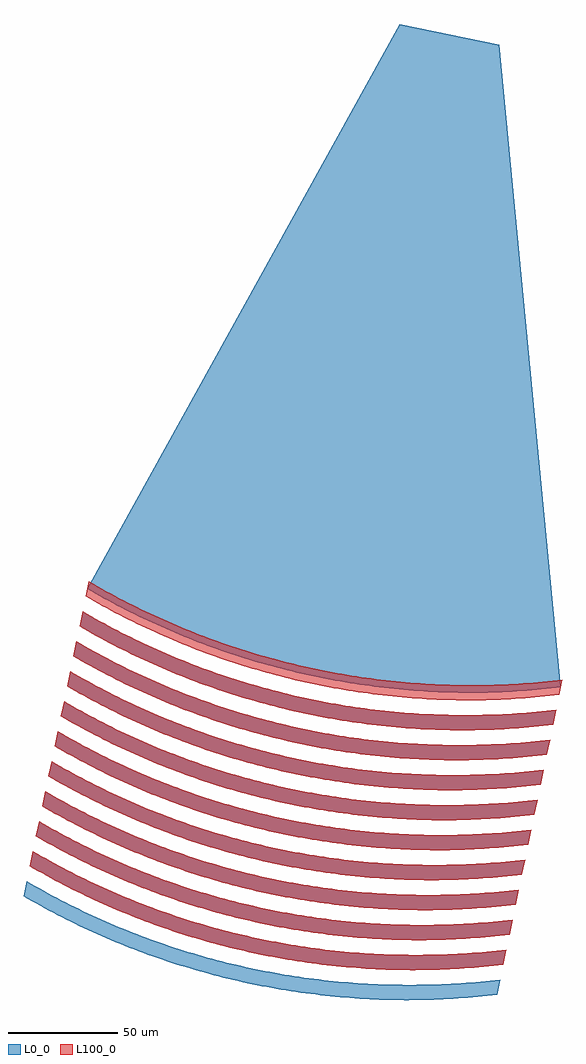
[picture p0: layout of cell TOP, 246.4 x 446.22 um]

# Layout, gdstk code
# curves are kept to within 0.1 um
import gdstk
lib = gdstk.Library(unit=1e-6, precision=1e-09)
def P(c, l, *ps):  # polygons
    for p in ps: c.add(gdstk.Polygon(p, *l))
L0_0 = (0, 0)
L100_0 = (100, 0)

top = lib.new_cell('TOP')
P(top, L0_0, [(7.037,-290.716),(-6.462,-290.491),(-19.956,-289.739),(-33.422,-288.46),(-46.835,-286.658),(-60.172,-284.334),(-71.211,-282.003),(-84.349,-278.735),(-97.345,-274.961),(-105.918,-272.166),(-114.412,-269.151),(-129.065,-263.352),(-137.305,-259.744),(-145.441,-255.925),(-153.467,-251.899),(-161.376,-247.669),(-169.161,-243.237),(-167.737,-236.383),(-156.012,-242.956),(-144.017,-249.072),(-131.773,-254.721),(-117.203,-260.708),(-104.494,-265.312),(-91.606,-269.421),(-76.372,-273.579),(-63.173,-276.591),(-47.639,-279.453),(-34.237,-281.343),(-20.779,-282.709),(-7.288,-283.549),(8.461,-283.862),(21.942,-283.559),(35.38,-282.728),(48.753,-281.371),(47.329,-288.224),(36.19,-289.392),(27.244,-290.063),(16.027,-290.572)],
  [(4.188,-304.423),(-9.31,-304.198),(-22.804,-303.446),(-36.27,-302.167),(-49.683,-300.365),(-63.02,-298.041),(-76.258,-295.201),(-89.374,-291.848),(-100.193,-288.668),(-108.767,-285.873),(-117.261,-282.858),(-125.668,-279.625),(-133.983,-276.177),(-148.29,-269.633),(-156.315,-265.606),(-164.224,-261.376),(-172.01,-256.944),(-170.586,-250.09),(-158.861,-256.663),(-146.866,-262.779),(-134.622,-268.428),(-120.051,-274.415),(-107.342,-279.02),(-92.29,-283.765),(-79.221,-287.286),(-66.021,-290.298),(-50.488,-293.16),(-37.086,-295.05),(-23.627,-296.416),(-10.136,-297.256),(3.363,-297.569),(19.093,-297.266),(32.532,-296.435),(45.905,-295.078),(44.48,-301.931),(33.342,-303.099),(24.395,-303.77),(15.425,-304.207)],
  [(1.34,-318.13),(-9.908,-317.98),(-23.405,-317.315),(-36.877,-316.124),(-50.301,-314.409),(-63.652,-312.172),(-76.908,-309.417),(-90.046,-306.15),(-103.041,-302.375),(-117.993,-297.34),(-126.423,-294.161),(-134.762,-290.766),(-143.002,-287.158),(-151.138,-283.34),(-159.164,-279.314),(-167.073,-275.083),(-174.858,-270.651),(-173.434,-263.798),(-161.709,-270.37),(-149.714,-276.486),(-135.407,-283.031),(-122.9,-288.122),(-110.191,-292.727),(-97.302,-296.836),(-84.257,-300.442),(-68.869,-304.005),(-55.563,-306.502),(-39.934,-308.757),(-26.476,-310.123),(-12.984,-310.963),(0.515,-311.276),(16.245,-310.973),(29.683,-310.142),(43.056,-308.785),(41.632,-315.639),(32.725,-316.602),(21.547,-317.477),(12.576,-317.914)],
  [(-1.507,-331.837),(-15.007,-331.613),(-26.253,-331.022),(-39.725,-329.831),(-53.149,-328.116),(-66.501,-325.879),(-79.757,-323.124),(-92.894,-319.857),(-105.89,-316.082),(-120.842,-311.047),(-129.272,-307.868),(-137.61,-304.474),(-145.85,-300.865),(-153.987,-297.047),(-162.012,-293.021),(-169.921,-288.79),(-177.707,-284.358),(-176.282,-277.505),(-162.576,-285.129),(-150.539,-291.168),(-138.255,-296.738),(-125.748,-301.83),(-113.039,-306.434),(-100.151,-310.543),(-84.917,-314.701),(-71.718,-317.712),(-58.411,-320.209),(-42.782,-322.464),(-29.324,-323.83),(-15.833,-324.67),(-0.083,-324.984),(13.397,-324.68),(26.835,-323.849),(40.208,-322.492),(38.784,-329.346),(29.877,-330.309),(18.698,-331.184),(7.482,-331.694)],
  [(-6.605,-345.544),(-20.105,-345.231),(-33.596,-344.391),(-47.055,-343.025),(-60.457,-341.135),(-73.779,-338.725),(-86.998,-335.799),(-97.919,-332.97),(-110.889,-329.112),(-125.806,-323.98),(-134.213,-320.747),(-142.528,-317.299),(-150.743,-313.638),(-158.852,-309.767),(-172.769,-302.497),(-180.555,-298.066),(-179.131,-291.212),(-165.425,-298.836),(-153.387,-304.875),(-141.104,-310.445),(-128.597,-315.537),(-115.888,-320.141),(-102.999,-324.25),(-87.766,-328.408),(-74.566,-331.419),(-61.259,-333.916),(-47.869,-335.893),(-34.418,-337.346),(-18.681,-338.377),(-5.181,-338.69),(8.304,-338.475),(23.987,-337.556),(37.359,-336.199),(35.935,-343.053),(24.796,-344.22),(13.609,-345.023),(2.387,-345.459)],
  [(-7.204,-359.252),(-20.704,-359.027),(-34.198,-358.275),(-45.422,-357.246),(-58.846,-355.53),(-72.197,-353.293),(-85.453,-350.538),(-98.591,-347.271),(-111.586,-343.497),(-120.16,-340.702),(-128.654,-337.687),(-143.307,-331.888),(-151.547,-328.28),(-159.683,-324.461),(-167.709,-320.435),(-175.618,-316.204),(-183.403,-311.773),(-181.979,-304.919),(-170.254,-311.492),(-158.259,-317.608),(-146.015,-323.257),(-131.445,-329.244),(-118.736,-333.848),(-105.848,-337.957),(-90.614,-342.115),(-77.415,-345.127),(-64.108,-347.623),(-50.717,-349.6),(-35.021,-351.245),(-21.53,-352.085),(-5.78,-352.398),(7.7,-352.095),(21.138,-351.264),(34.511,-349.907),(33.087,-356.76),(24.18,-357.723),(13.002,-358.599),(1.785,-359.108)],
  [(-10.053,-372.959),(-23.552,-372.734),(-37.046,-371.982),(-50.512,-370.703),(-63.925,-368.901),(-77.262,-366.577),(-90.5,-363.737),(-103.616,-360.384),(-114.435,-357.204),(-123.009,-354.409),(-131.503,-351.394),(-139.91,-348.161),(-148.225,-344.713),(-156.44,-341.052),(-164.549,-337.181),(-178.466,-329.912),(-186.252,-325.48),(-184.828,-318.626),(-173.103,-325.199),(-161.108,-331.315),(-148.864,-336.964),(-134.293,-342.951),(-121.584,-347.555),(-108.696,-351.664),(-93.463,-355.822),(-80.263,-358.834),(-64.73,-361.696),(-51.327,-363.586),(-37.869,-364.952),(-24.378,-365.792),(-8.628,-366.105),(4.851,-365.802),(18.29,-364.971),(31.663,-363.614),(30.238,-370.467),(19.1,-371.635),(10.153,-372.306),(1.183,-372.743)],
  [(-12.901,-386.666),(-26.4,-386.441),(-37.647,-385.851),(-51.119,-384.66),(-64.543,-382.945),(-77.894,-380.707),(-91.15,-377.953),(-104.288,-374.685),(-117.283,-370.911),(-125.857,-368.116),(-134.351,-365.101),(-142.758,-361.868),(-151.073,-358.42),(-165.38,-351.876),(-173.406,-347.849),(-181.314,-343.619),(-189.1,-339.187),(-187.676,-332.334),(-175.951,-338.906),(-163.956,-345.022),(-149.649,-351.567),(-137.142,-356.658),(-124.433,-361.263),(-109.38,-366.008),(-96.311,-369.529),(-83.111,-372.541),(-67.578,-375.403),(-54.176,-377.293),(-40.717,-378.659),(-27.226,-379.499),(-13.726,-379.812),(2.003,-379.509),(15.442,-378.678),(28.814,-377.321),(27.39,-384.174),(18.483,-385.138),(7.305,-386.013),(-1.665,-386.45)],
  [(-15.749,-400.373),(-29.249,-400.149),(-40.495,-399.558),(-53.967,-398.367),(-67.391,-396.652),(-80.742,-394.415),(-93.999,-391.66),(-107.136,-388.393),(-120.132,-384.618),(-135.084,-379.583),(-143.513,-376.404),(-151.852,-373.009),(-160.092,-369.401),(-168.229,-365.583),(-176.254,-361.557),(-184.163,-357.326),(-191.948,-352.894),(-190.524,-346.041),(-178.799,-352.613),(-166.804,-358.729),(-152.497,-365.274),(-139.99,-370.365),(-127.281,-374.97),(-114.393,-379.079),(-101.347,-382.685),(-85.96,-386.248),(-72.653,-388.745),(-57.024,-391),(-43.566,-392.366),(-30.075,-393.206),(-14.325,-393.52),(-0.844,-393.216),(12.593,-392.385),(25.966,-391.028),(24.542,-397.882),(15.635,-398.845),(4.456,-399.72),(-4.513,-400.157)],
  [(-20.847,-414.08),(-34.347,-413.767),(-47.838,-412.927),(-61.297,-411.561),(-72.47,-410.022),(-85.807,-407.699),(-99.045,-404.858),(-112.161,-401.506),(-122.98,-398.325),(-131.554,-395.531),(-140.048,-392.516),(-154.7,-386.717),(-162.941,-383.109),(-171.077,-379.29),(-179.103,-375.264),(-187.011,-371.033),(-194.797,-366.601),(-193.373,-359.748),(-179.667,-367.372),(-167.629,-373.411),(-155.346,-378.981),(-142.838,-384.073),(-130.13,-388.677),(-117.241,-392.786),(-102.008,-396.944),(-88.808,-399.955),(-75.501,-402.452),(-59.873,-404.707),(-46.414,-406.073),(-32.923,-406.913),(-17.174,-407.227),(-3.693,-406.923),(9.745,-406.092),(23.118,-404.735),(21.693,-411.589),(12.787,-412.552),(1.608,-413.427),(-9.607,-413.937)],
  [(10.597,-273.582),(-2.901,-273.357),(-14.148,-272.767),(-25.377,-271.811),(-36.576,-270.49),(-47.73,-268.807),(-58.825,-266.762),(-69.849,-264.36),(-80.788,-261.601),(-91.629,-258.491),(-102.358,-255.032),(-112.962,-251.229),(-123.429,-247.087),(-135.789,-241.675),(-145.908,-236.804),(-155.849,-231.611),(-165.601,-226.103),(-22.763,32.144),(22.763,22.684),(50.889,-271.09),(39.751,-272.258),(30.804,-272.929),(21.833,-273.366)])
P(top, L100_0, [(9.885,-277.009),(-3.613,-276.784),(-17.108,-276.032),(-28.332,-275.003),(-41.755,-273.287),(-55.107,-271.05),(-68.363,-268.295),(-81.5,-265.028),(-94.496,-261.254),(-103.07,-258.459),(-111.564,-255.444),(-126.216,-249.645),(-134.457,-246.037),(-142.593,-242.218),(-156.562,-235.038),(-166.313,-229.53),(-164.889,-222.676),(-153.164,-229.248),(-141.169,-235.365),(-128.925,-241.014),(-114.355,-247.001),(-101.646,-251.605),(-88.757,-255.714),(-73.524,-259.872),(-60.324,-262.884),(-47.017,-265.38),(-33.627,-267.357),(-20.176,-268.81),(-4.439,-269.842),(9.06,-270.154),(22.546,-269.939),(38.229,-269.021),(51.601,-267.663),(50.177,-274.517),(41.27,-275.48),(30.092,-276.355),(18.876,-276.865)],
  [(7.037,-290.716),(-6.462,-290.491),(-19.956,-289.739),(-33.422,-288.46),(-46.835,-286.658),(-60.172,-284.334),(-71.211,-282.003),(-84.349,-278.735),(-97.345,-274.961),(-105.918,-272.166),(-114.412,-269.151),(-129.065,-263.352),(-137.305,-259.744),(-145.441,-255.925),(-153.467,-251.899),(-161.376,-247.669),(-169.161,-243.237),(-167.737,-236.383),(-156.012,-242.956),(-144.017,-249.072),(-131.773,-254.721),(-117.203,-260.708),(-104.494,-265.312),(-91.606,-269.421),(-76.372,-273.579),(-63.173,-276.591),(-47.639,-279.453),(-34.237,-281.343),(-20.779,-282.709),(-7.288,-283.549),(8.461,-283.862),(21.942,-283.559),(35.38,-282.728),(48.753,-281.371),(47.329,-288.224),(36.19,-289.392),(27.244,-290.063),(16.027,-290.572)],
  [(4.188,-304.423),(-9.31,-304.198),(-22.804,-303.446),(-36.27,-302.167),(-49.683,-300.365),(-63.02,-298.041),(-76.258,-295.201),(-89.374,-291.848),(-100.193,-288.668),(-108.767,-285.873),(-117.261,-282.858),(-125.668,-279.625),(-133.983,-276.177),(-148.29,-269.633),(-156.315,-265.606),(-164.224,-261.376),(-172.01,-256.944),(-170.586,-250.09),(-158.861,-256.663),(-146.866,-262.779),(-134.622,-268.428),(-120.051,-274.415),(-107.342,-279.02),(-92.29,-283.765),(-79.221,-287.286),(-66.021,-290.298),(-50.488,-293.16),(-37.086,-295.05),(-23.627,-296.416),(-10.136,-297.256),(3.363,-297.569),(19.093,-297.266),(32.532,-296.435),(45.905,-295.078),(44.48,-301.931),(33.342,-303.099),(24.395,-303.77),(15.425,-304.207)],
  [(1.34,-318.13),(-9.908,-317.98),(-23.405,-317.315),(-36.877,-316.124),(-50.301,-314.409),(-63.652,-312.172),(-76.908,-309.417),(-90.046,-306.15),(-103.041,-302.375),(-117.993,-297.34),(-126.423,-294.161),(-134.762,-290.766),(-143.002,-287.158),(-151.138,-283.34),(-159.164,-279.314),(-167.073,-275.083),(-174.858,-270.651),(-173.434,-263.798),(-161.709,-270.37),(-149.714,-276.486),(-135.407,-283.031),(-122.9,-288.122),(-110.191,-292.727),(-97.302,-296.836),(-84.257,-300.442),(-68.869,-304.005),(-55.563,-306.502),(-39.934,-308.757),(-26.476,-310.123),(-12.984,-310.963),(0.515,-311.276),(16.245,-310.973),(29.683,-310.142),(43.056,-308.785),(41.632,-315.639),(32.725,-316.602),(21.547,-317.477),(12.576,-317.914)],
  [(-1.507,-331.837),(-15.007,-331.613),(-26.253,-331.022),(-39.725,-329.831),(-53.149,-328.116),(-66.501,-325.879),(-79.757,-323.124),(-92.894,-319.857),(-105.89,-316.082),(-120.842,-311.047),(-129.272,-307.868),(-137.61,-304.474),(-145.85,-300.865),(-153.987,-297.047),(-162.012,-293.021),(-169.921,-288.79),(-177.707,-284.358),(-176.282,-277.505),(-162.576,-285.129),(-150.539,-291.168),(-138.255,-296.738),(-125.748,-301.83),(-113.039,-306.434),(-100.151,-310.543),(-84.917,-314.701),(-71.718,-317.712),(-58.411,-320.209),(-42.782,-322.464),(-29.324,-323.83),(-15.833,-324.67),(-0.083,-324.984),(13.397,-324.68),(26.835,-323.849),(40.208,-322.492),(38.784,-329.346),(29.877,-330.309),(18.698,-331.184),(7.482,-331.694)],
  [(-6.605,-345.544),(-20.105,-345.231),(-33.596,-344.391),(-47.055,-343.025),(-60.457,-341.135),(-73.779,-338.725),(-86.998,-335.799),(-97.919,-332.97),(-110.889,-329.112),(-125.806,-323.98),(-134.213,-320.747),(-142.528,-317.299),(-150.743,-313.638),(-158.852,-309.767),(-172.769,-302.497),(-180.555,-298.066),(-179.131,-291.212),(-165.425,-298.836),(-153.387,-304.875),(-141.104,-310.445),(-128.597,-315.537),(-115.888,-320.141),(-102.999,-324.25),(-87.766,-328.408),(-74.566,-331.419),(-61.259,-333.916),(-47.869,-335.893),(-34.418,-337.346),(-18.681,-338.377),(-5.181,-338.69),(8.304,-338.475),(23.987,-337.556),(37.359,-336.199),(35.935,-343.053),(24.796,-344.22),(13.609,-345.023),(2.387,-345.459)],
  [(-7.204,-359.252),(-20.704,-359.027),(-34.198,-358.275),(-45.422,-357.246),(-58.846,-355.53),(-72.197,-353.293),(-85.453,-350.538),(-98.591,-347.271),(-111.586,-343.497),(-120.16,-340.702),(-128.654,-337.687),(-143.307,-331.888),(-151.547,-328.28),(-159.683,-324.461),(-167.709,-320.435),(-175.618,-316.204),(-183.403,-311.773),(-181.979,-304.919),(-170.254,-311.492),(-158.259,-317.608),(-146.015,-323.257),(-131.445,-329.244),(-118.736,-333.848),(-105.848,-337.957),(-90.614,-342.115),(-77.415,-345.127),(-64.108,-347.623),(-50.717,-349.6),(-35.021,-351.245),(-21.53,-352.085),(-5.78,-352.398),(7.7,-352.095),(21.138,-351.264),(34.511,-349.907),(33.087,-356.76),(24.18,-357.723),(13.002,-358.599),(1.785,-359.108)],
  [(-10.053,-372.959),(-23.552,-372.734),(-37.046,-371.982),(-50.512,-370.703),(-63.925,-368.901),(-77.262,-366.577),(-90.5,-363.737),(-103.616,-360.384),(-114.435,-357.204),(-123.009,-354.409),(-131.503,-351.394),(-139.91,-348.161),(-148.225,-344.713),(-156.44,-341.052),(-164.549,-337.181),(-178.466,-329.912),(-186.252,-325.48),(-184.828,-318.626),(-173.103,-325.199),(-161.108,-331.315),(-148.864,-336.964),(-134.293,-342.951),(-121.584,-347.555),(-108.696,-351.664),(-93.463,-355.822),(-80.263,-358.834),(-64.73,-361.696),(-51.327,-363.586),(-37.869,-364.952),(-24.378,-365.792),(-8.628,-366.105),(4.851,-365.802),(18.29,-364.971),(31.663,-363.614),(30.238,-370.467),(19.1,-371.635),(10.153,-372.306),(1.183,-372.743)],
  [(-12.901,-386.666),(-26.4,-386.441),(-37.647,-385.851),(-51.119,-384.66),(-64.543,-382.945),(-77.894,-380.707),(-91.15,-377.953),(-104.288,-374.685),(-117.283,-370.911),(-125.857,-368.116),(-134.351,-365.101),(-142.758,-361.868),(-151.073,-358.42),(-165.38,-351.876),(-173.406,-347.849),(-181.314,-343.619),(-189.1,-339.187),(-187.676,-332.334),(-175.951,-338.906),(-163.956,-345.022),(-149.649,-351.567),(-137.142,-356.658),(-124.433,-361.263),(-109.38,-366.008),(-96.311,-369.529),(-83.111,-372.541),(-67.578,-375.403),(-54.176,-377.293),(-40.717,-378.659),(-27.226,-379.499),(-13.726,-379.812),(2.003,-379.509),(15.442,-378.678),(28.814,-377.321),(27.39,-384.174),(18.483,-385.138),(7.305,-386.013),(-1.665,-386.45)],
  [(-15.749,-400.373),(-29.249,-400.149),(-40.495,-399.558),(-53.967,-398.367),(-67.391,-396.652),(-80.742,-394.415),(-93.999,-391.66),(-107.136,-388.393),(-120.132,-384.618),(-135.084,-379.583),(-143.513,-376.404),(-151.852,-373.009),(-160.092,-369.401),(-168.229,-365.583),(-176.254,-361.557),(-184.163,-357.326),(-191.948,-352.894),(-190.524,-346.041),(-178.799,-352.613),(-166.804,-358.729),(-152.497,-365.274),(-139.99,-370.365),(-127.281,-374.97),(-114.393,-379.079),(-101.347,-382.685),(-85.96,-386.248),(-72.653,-388.745),(-57.024,-391),(-43.566,-392.366),(-30.075,-393.206),(-14.325,-393.52),(-0.844,-393.216),(12.593,-392.385),(25.966,-391.028),(24.542,-397.882),(15.635,-398.845),(4.456,-399.72),(-4.513,-400.157)])

lib.write_gds('TOP.gds')
